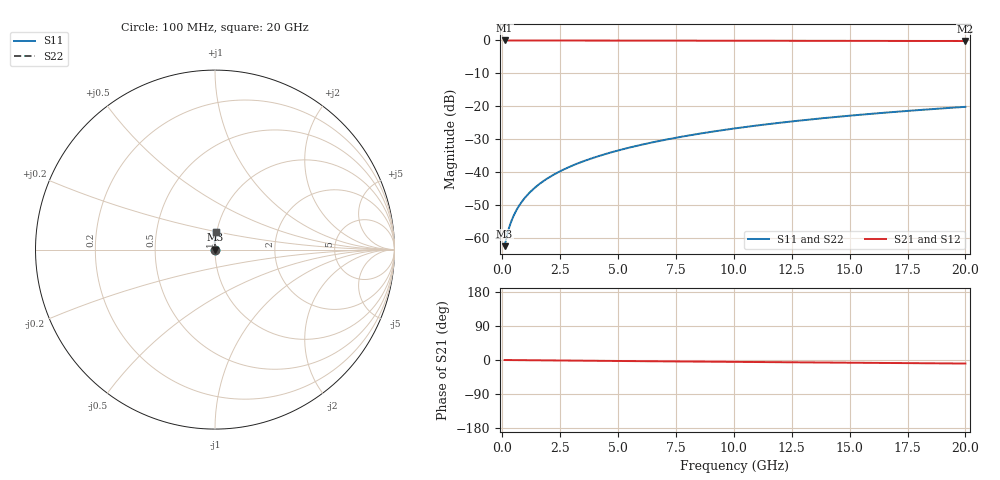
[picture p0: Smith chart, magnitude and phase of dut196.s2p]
! Touchstone file exported from HFSS 2024.1.0
!  File:  C:/UserFiles/LocalFiles/RDL_TSV_Batchsim/temp_RDL_bottom_196_1778699338.aedt
!  Generated:  03:11:25 AM May 14, 2026
!  Design:  RDL_bottom
!  Project:  temp_RDL_bottom_196_1778699338
!  Setup:  Setup1
!  Solution:  Sweep
! Variables:
!  dtsv = 10.80580581um
!  hbump = 3um
!  htsv = 93.33um
!  ldown = 112.28um
!  lrdl = 100um
!  p = 40
!  p1 = 47.09um
!  rhole = 1um
!  t = 450um
!  tdown = 4.08um
!  trdl = 3.915915916um
!  wdown = 25.17um
!  wrdl = 20um
# GHz S MA R 50.000000
! Terminal data exported
! Port[1] = RDL1_T1
! Port[2] = RDL1_T2
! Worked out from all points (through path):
!   200 points, 100 MHz to 20 GHz, reference 50 ohm
!   highest |S21| = -0.01 dB at 100 MHz (marker M1); lowest = -0.2 dB at 20 GHz (marker M2)
!   group delay of S21, straight-line fit = 1.28 ps
!   lowest |S11| = -62.5 dB at 100 MHz (marker M3), VSWR 1.00, Z = 50.1 + j0.0458 ohm
!   |S11| at or under -10 dB: start of sweep to end of sweep
!   |S22| runs from -62.5 to -20.2 dB; largest |S21 - S12| = 5.1e-15
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0.1  0.0007494 37.6  0.9994 -0.1  0.9994 -0.1  0.0007494 37.6
! Gamma 0 0 0 0
! Port Impedance 50 0 50 0
0.2  0.001089 54.8  0.9994 -0.1  0.9994 -0.1  0.001089 54.8
0.3  0.001457 63.2  0.9993 -0.2  0.9993 -0.2  0.001457 63.2
0.4  0.001831 68.4  0.9993 -0.2  0.9993 -0.2  0.001831 68.4
0.5  0.00221 72.0  0.9992 -0.3  0.9992 -0.3  0.00221 72.0
0.6  0.002594 74.7  0.9992 -0.3  0.9992 -0.3  0.002594 74.7
0.8  0.003373 78.4  0.9992 -0.4  0.9992 -0.4  0.003373 78.4
1.1  0.004564 81.8  0.999 -0.6  0.999 -0.6  0.004564 81.8
1.5  0.006178 84.6  0.9989 -0.8  0.9989 -0.8  0.006178 84.6
1.8  0.007404 86.0  0.9987 -1.0  0.9987 -1.0  0.007404 86.0
2.1  0.008642 87.0  0.9985 -1.1  0.9985 -1.1  0.008642 87.0
2.7  0.01116 88.6  0.998 -1.4  0.998 -1.4  0.01116 88.6
3.5  0.01459 90.0  0.9973 -1.9  0.9973 -1.9  0.01459 90.0
4.2  0.01768 90.8  0.9966 -2.2  0.9966 -2.2  0.01768 90.8
5  0.0213 91.5  0.9957 -2.6  0.9957 -2.6  0.0213 91.5
5.9  0.0255 91.9  0.9946 -3.1  0.9946 -3.1  0.0255 91.9
6.8  0.02982 92.1  0.9935 -3.5  0.9935 -3.5  0.02982 92.1
8.4  0.03773 92.1  0.9915 -4.2  0.9915 -4.2  0.03773 92.1
10.1  0.04639 91.6  0.9896 -5.0  0.9896 -5.0  0.04639 91.6
13.4  0.06355 90.0  0.9861 -6.5  0.9861 -6.5  0.06355 90.0
16.7  0.08084 88.1  0.9829 -7.9  0.9829 -7.9  0.08084 88.1
20  0.09804 86.2  0.9799 -9.3  0.9799 -9.3  0.09804 86.2
